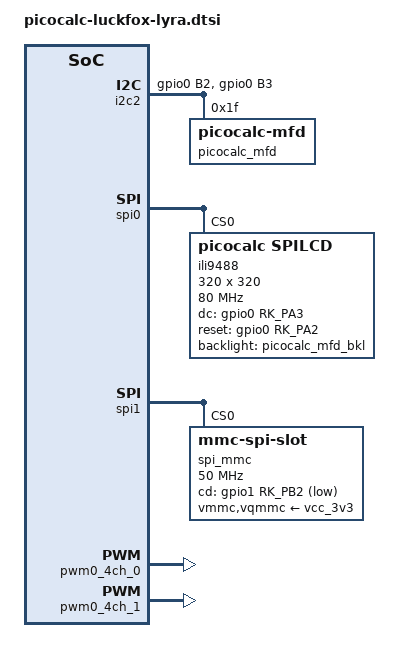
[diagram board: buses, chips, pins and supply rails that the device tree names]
// SPDX-License-Identifier: (GPL-2.0+ OR MIT)
/*
 * PicoCalc hardware device tree definitions for Luckfox Lyra board
 */

/****** Picocalc i2c Bus ******/
&pinctrl {
    rm_io11 {
        rm_io11_i2c2_sda: rm-io11-i2c2-sda {
            rockchip,pins =
                <0 RK_PB3 35 &pcfg_pull_none>;
        };
    };

    rm_io10 {
        rm_io10_i2c2_scl: rm-io10-i2c2-scl {
            rockchip,pins =
                <0 RK_PB2 34 &pcfg_pull_none>;
        };
    };
};

&i2c2{
	status = "okay";
	pinctrl-names = "default";
	pinctrl-0 = <&rm_io10_i2c2_scl &rm_io11_i2c2_sda>;
	max-frequency = <400000>;

	/****** Picocalc STM32 Firmware ******/
	picocalc_mfd: picocalc-mfd@1f {
		status = "okay";
		compatible = "picocalc-mfd","picocalc-kbd";
		reg = <0x1F>;
		poweroff = <0x0E>;

		/****** Keyboard Subsystem ******/
		picocalc_mfd_kbd: picocalc-mfd-kbd@04 {
			compatible = "picocalc-mfd-kbd";
			reg = <0x04>;
			fifo = <0x09>;
		};

		/****** Battery Subsystem ******/
		picocalc_mfd_bms: picocalc-mfd-bms@0b {
			compatible = "picocalc-mfd-bms";
			reg = <0x0B>;
		};

		/****** Display Backlight ******/
		picocalc_mfd_bkl: picocalc-mfd-bkl@05 {
			compatible = "picocalc-mfd-bkl";
			reg = <0x05>;
			default-brightness = <128>;
			max-brightness = <255>;
		};

		/****** Keyboard Backlight ******/
		picocalc_mfd_led: picocalc-mfd-led@0a {
			compatible = "picocalc-mfd-led";
			linux,default-trigger = "backlight";
			reg = <0x0A>;
			label = "picocalc_mfd_led:kbd_backlight";
		};
	};
};

/****** Picocalc Display ******/
&pinctrl {
	ili9488 {
		ili9488_pins: ili9488-pins {
			rockchip,pins =
				<0 RK_PA3 RK_FUNC_GPIO &pcfg_pull_none>,
				<0 RK_PA2 RK_FUNC_GPIO &pcfg_pull_none>;
		};
	};
};

&spi0 {
	status = "okay";
	pinctrl-names = "default";
	pinctrl-0 = <&rm_io4_spi0_csn0 &rm_io5_spi0_miso &rm_io6_spi0_mosi &rm_io7_spi0_clk>;
	num-cs = <1>;

	ili9488: ili9488@0 {
		status = "okay";
		compatible = "picocalc,spilcd", "ilitek,ili9488";
		spi-max-frequency = <80000000>;
		reg = <0>;
		pinctrl-names = "default";
		pinctrl-0 = <&ili9488_pins>;
		fps = <30>;
		width = <320>;
		height = <320>;

		backlight = <&picocalc_mfd_bkl>;
		/***** DRM driver Parameter names ******/
		dc-gpios = <&gpio0 RK_PA3 GPIO_ACTIVE_HIGH>;
        reset-gpios = <&gpio0 RK_PA2 GPIO_ACTIVE_HIGH>;
		rotate = <0>;
        buswidth = <8>;
	};
};

/****** Picocalc SD Card Reader ******/
&spi1 {
	status = "okay";
	pinctrl-names = "default";
	pinctrl-0 = <&rm_io29_spi1_clk &rm_io28_spi1_mosi &rm_io31_spi1_miso &rm_io30_spi1_csn0>;

	spi_mmc: mmc@0 {
		compatible = "mmc-spi-slot";
		reg = <0>;  // Chip Select 0
		spi-max-frequency = <50000000>;
		cd-gpios = <&gpio1 RK_PB2 GPIO_ACTIVE_LOW>;
		disable-wp;
		no-sdio;
		voltage-ranges = <3300 3300>;
		vmmc-supply = <&vcc_3v3>;
		vqmmc-supply = <&vcc_3v3>;
		no-1-8-v;
	};
};

/****** PWM Sound via Hardware Mod ******/
&pinctrl {
	picocalc_snd {
		snd_pins: snd-pins {
			rockchip,pins =
				<4 RK_PB2 RK_FUNC_GPIO &pcfg_pull_none>,
				<4 RK_PB3 RK_FUNC_GPIO &pcfg_pull_none>;
		};
	};
};

/ {
	/* Default sound: M0 delta-sigma audio (same pins as softpwm/hwpwm) */
	picocalc_snd_m0: picocalc-snd-m0 {
		compatible = "picocalc,snd-m0";
		status = "okay";
		memory-region = <&m0_shmem>;
		remote-proc = <&mcu_rproc>;
		ring-buffer-bytes = <8192>;
		pinctrl-names = "default";
		pinctrl-0 = <&snd_pins>;
	};

	/* Optional: hardware PWM sound (requires HW mod); disable when using M0 */
	picocalc_snd {
		status = "disabled";
		compatible = "fsl,picocalc-snd-pwm";
		pinctrl-names = "default";
		pinctrl-0 = <&snd_pins>;
		leftpin = <&gpio4 RK_PB2 GPIO_ACTIVE_HIGH>;
		rightpin = <&gpio4 RK_PB3 GPIO_ACTIVE_HIGH>;
		pwm-names = "pwm-snd-left", "pwm-snd-right";
		pwms = <&pwm0_4ch_0 0 25000 0>, <&pwm0_4ch_1 0 25000 0>;
	};

	/* RK3506 Cortex-M0 remoteproc for M0 audio firmware */
	mcu_rproc: mcu@fff84000 {
		compatible = "rockchip,rk3506-mcu";
		reg = <0xfff84000 0x8000>;
		firmware-name = "rk3506-m0-audio.elf";
		clocks = <&cru HCLK_M0>, <&cru STCLK_M0>,
			 <&cru PCLK_TIMER>, <&cru CLK_TIMER0_CH5>;
		resets = <&cru SRST_H_M0>, <&cru SRST_M0_JTAG>,
			 <&cru SRST_HRESETN_M0_AC>;
		reset-names = "h_m0", "m0_jtag", "hresetn_m0_ac";
	};
};

&pwm0_4ch_0 {
	pinctrl-names = "active";
	pinctrl-0 = <&rm_io12_pwm0_ch0>;
	status = "okay";
	assigned-clocks = <&cru CLK_PWM0>;
	assigned-clock-rates = <100000000>;
};

&pwm0_4ch_1 {
	pinctrl-names = "active";
	pinctrl-0 = <&rm_io13_pwm0_ch1>;
	status = "okay";
	assigned-clocks = <&cru CLK_PWM0>;
	assigned-clock-rates = <100000000>;
};

/****** M0 shared memory for audio (reserved_memory from SoC dtsi) ******/
&reserved_memory {
	m0_shmem: m0-shmem@3c00000 {
		reg = <0x03c00000 0x100000>;
		no-map;
	};
};
